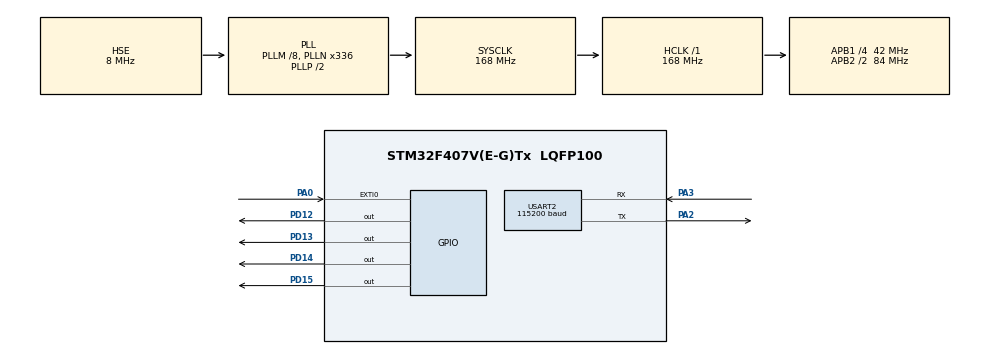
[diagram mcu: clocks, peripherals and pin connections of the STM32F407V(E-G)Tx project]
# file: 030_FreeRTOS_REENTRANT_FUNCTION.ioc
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FREERTOS.Tasks01=defaultTask,24,128,StartDefaultTask,Default,NULL,Dynamic,NULL,NULL
FREERTOS.configUSE_NEWLIB_REENTRANT=1
Mcu.Family=STM32F4
Mcu.Name=STM32F407V(E-G)Tx
Mcu.Package=LQFP100
NVIC.EXTI0_IRQn=true\:5\:0\:false\:false\:true\:true\:true\:true\:true
NVIC.PriorityGroup=NVIC_PRIORITYGROUP_4
NVIC.TIM8_TRG_COM_TIM14_IRQn=true\:15\:0\:false\:false\:true\:false\:false\:true\:true
NVIC.TimeBase=TIM8_TRG_COM_TIM14_IRQn
NVIC.TimeBaseIP=TIM14
NVIC.USART2_IRQn=true\:5\:0\:false\:false\:true\:true\:true\:true\:true
PA0-WKUP.Signal=GPXTI0
PA2.Mode=Asynchronous
PA2.Signal=USART2_TX
PA3.Mode=Asynchronous
PA3.Signal=USART2_RX
PD12.Signal=GPIO_Output
PD13.Signal=GPIO_Output
PD14.Signal=GPIO_Output
PD15.Signal=GPIO_Output
PH0-OSC_IN.Mode=HSE-External-Oscillator
PH0-OSC_IN.Signal=RCC_OSC_IN
PH1-OSC_OUT.Mode=HSE-External-Oscillator
PH1-OSC_OUT.Signal=RCC_OSC_OUT
ProjectManager.HeapSize=0x200
ProjectManager.StackSize=0x400
ProjectManager.TargetToolchain=STM32CubeIDE
RCC.48MHZClocksFreq_Value=48000000
RCC.AHBFreq_Value=168000000
RCC.APB1CLKDivider=RCC_HCLK_DIV4
RCC.APB1Freq_Value=42000000
RCC.APB1TimFreq_Value=84000000
RCC.APB2CLKDivider=RCC_HCLK_DIV2
RCC.APB2Freq_Value=84000000
RCC.APB2TimFreq_Value=168000000
RCC.CortexFreq_Value=168000000
RCC.HCLKFreq_Value=168000000
RCC.HSE_VALUE=8000000
RCC.HSI_VALUE=16000000
RCC.LSE_VALUE=32768
RCC.PLLM=8
RCC.PLLN=336
RCC.PLLQ=7
RCC.PLLSourceVirtual=RCC_PLLSOURCE_HSE
RCC.SYSCLKFreq_VALUE=168000000
RCC.SYSCLKSource=RCC_SYSCLKSOURCE_PLLCLK
RCC.VCOOutputFreq_Value=336000000
USART2.BaudRate=115200
USART2.VirtualMode=VM_ASYNC
VP_FREERTOS_VS_CMSIS_V2.Mode=CMSIS_V2
VP_SYS_VS_tim14.Mode=TIM14
board=STM32F407G-DISC1

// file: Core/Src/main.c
/* USER CODE BEGIN Header */
/**
  ******************************************************************************
  * @file           : main.c
  * @brief          : Main program body
  ******************************************************************************
  * @attention
  *
  * Copyright (c) 2023 STMicroelectronics.
  * All rights reserved.
  *
  * This software is licensed under terms that can be found in the LICENSE file
  * in the root directory of this software component.
  * If no LICENSE file comes with this software, it is provided AS-IS.
  *
  ******************************************************************************
  */
/* USER CODE END Header */
#include "main.h"

/* USER CODE BEGIN Includes */
#include "FreeRTOS.h"
#include "task.h"
/* USER CODE END Includes */

UART_HandleTypeDef huart2;

/* Definitions for defaultTask */

/* USER CODE BEGIN PV */
long lVar3;
/* USER CODE END PV */

void SystemClock_Config(void);
static void MX_GPIO_Init(void);
static void MX_USART2_UART_Init(void);

/* USER CODE BEGIN 0 */
long lAddOneHundred_REENTRANT(long lVar1)
{
	long lVar2 = lVar1 + 100;
	return lVar2;
}
long lNonsenseFunction_not_REENTRANT(int state)
{
	// Uses Global variables, makes it not reentrant
	static long lState = 0;
	long lReturn;
	switch(state)
	{
		case 0 : lReturn = lVar3 + 10;
			 	 lState = 1;
			 	 break;
		case 1 : lReturn = lVar3 + 20;
				 lState = 0;
				 break;
	}
}
/* USER CODE END 0 */

int main(void)
{

  /* MCU Configuration--------------------------------------------------------*/

  /* Reset of all peripherals, Initializes the Flash interface and the Systick. */
  HAL_Init();

  /* Configure the system clock */
  SystemClock_Config();

  /* Initialize all configured peripherals */
  MX_GPIO_Init();
  MX_USART2_UART_Init();
  /* USER CODE BEGIN 2 */
  vTaskStartScheduler();
  /* USER CODE END 2 */

  /* Init scheduler */

  /* Create the thread(s) */
  /* creation of defaultTask */

  /* Start scheduler */
  /* We should never get here as control is now taken by the scheduler */
  /* Infinite loop */
  while (1)
  {

  }
}

void SystemClock_Config(void)
{
  RCC_OscInitTypeDef RCC_OscInitStruct = {0};
  RCC_ClkInitTypeDef RCC_ClkInitStruct = {0};

  /** Configure the main internal regulator output voltage
  */
  __HAL_RCC_PWR_CLK_ENABLE();
  __HAL_PWR_VOLTAGESCALING_CONFIG(PWR_REGULATOR_VOLTAGE_SCALE1);

  /** Initializes the RCC Oscillators according to the specified parameters
  * in the RCC_OscInitTypeDef structure.
  */
  RCC_OscInitStruct.OscillatorType = RCC_OSCILLATORTYPE_HSE;
  RCC_OscInitStruct.HSEState = RCC_HSE_ON;
  RCC_OscInitStruct.PLL.PLLState = RCC_PLL_ON;
  RCC_OscInitStruct.PLL.PLLSource = RCC_PLLSOURCE_HSE;
  RCC_OscInitStruct.PLL.PLLM = 8;
  RCC_OscInitStruct.PLL.PLLN = 336;
  RCC_OscInitStruct.PLL.PLLP = RCC_PLLP_DIV2;
  RCC_OscInitStruct.PLL.PLLQ = 7;
  if (HAL_RCC_OscConfig(&RCC_OscInitStruct) != HAL_OK)
  {
    Error_Handler();
  }

  /** Initializes the CPU, AHB and APB buses clocks
  */
  RCC_ClkInitStruct.ClockType = RCC_CLOCKTYPE_HCLK|RCC_CLOCKTYPE_SYSCLK
                              |RCC_CLOCKTYPE_PCLK1|RCC_CLOCKTYPE_PCLK2;
  RCC_ClkInitStruct.SYSCLKSource = RCC_SYSCLKSOURCE_PLLCLK;
  RCC_ClkInitStruct.AHBCLKDivider = RCC_SYSCLK_DIV1;
  RCC_ClkInitStruct.APB1CLKDivider = RCC_HCLK_DIV4;
  RCC_ClkInitStruct.APB2CLKDivider = RCC_HCLK_DIV2;

  if (HAL_RCC_ClockConfig(&RCC_ClkInitStruct, FLASH_LATENCY_5) != HAL_OK)
  {
    Error_Handler();
  }
}

static void MX_USART2_UART_Init(void)
{

  huart2.Instance = USART2;
  huart2.Init.BaudRate = 115200;
  huart2.Init.WordLength = UART_WORDLENGTH_8B;
  huart2.Init.StopBits = UART_STOPBITS_1;
  huart2.Init.Parity = UART_PARITY_NONE;
  huart2.Init.Mode = UART_MODE_TX_RX;
  huart2.Init.HwFlowCtl = UART_HWCONTROL_NONE;
  huart2.Init.OverSampling = UART_OVERSAMPLING_16;
  if (HAL_UART_Init(&huart2) != HAL_OK)
  {
    Error_Handler();
  }

}

static void MX_GPIO_Init(void)
{
  GPIO_InitTypeDef GPIO_InitStruct = {0};

  /* GPIO Ports Clock Enable */
  __HAL_RCC_GPIOH_CLK_ENABLE();
  __HAL_RCC_GPIOA_CLK_ENABLE();
  __HAL_RCC_GPIOD_CLK_ENABLE();

  /*Configure GPIO pin Output Level */
  HAL_GPIO_WritePin(GPIOD, GPIO_PIN_12|GPIO_PIN_13|GPIO_PIN_14|GPIO_PIN_15, GPIO_PIN_RESET);

  /*Configure GPIO pin : PA0 */
  GPIO_InitStruct.Pin = GPIO_PIN_0;
  GPIO_InitStruct.Mode = GPIO_MODE_IT_RISING;
  GPIO_InitStruct.Pull = GPIO_NOPULL;
  HAL_GPIO_Init(GPIOA, &GPIO_InitStruct);

  /*Configure GPIO pins : PD12 PD13 PD14 PD15 */
  GPIO_InitStruct.Pin = GPIO_PIN_12|GPIO_PIN_13|GPIO_PIN_14|GPIO_PIN_15;
  GPIO_InitStruct.Mode = GPIO_MODE_OUTPUT_PP;
  GPIO_InitStruct.Pull = GPIO_NOPULL;
  GPIO_InitStruct.Speed = GPIO_SPEED_FREQ_LOW;
  HAL_GPIO_Init(GPIOD, &GPIO_InitStruct);

  /* EXTI interrupt init*/
  HAL_NVIC_SetPriority(EXTI0_IRQn, 5, 0);
  HAL_NVIC_EnableIRQ(EXTI0_IRQn);

}

void HAL_TIM_PeriodElapsedCallback(TIM_HandleTypeDef *htim)
{
  if (htim->Instance == TIM14) {
    HAL_IncTick();
  }
}

void Error_Handler(void)
{
  __disable_irq();
  while (1)
  {
  }
}
